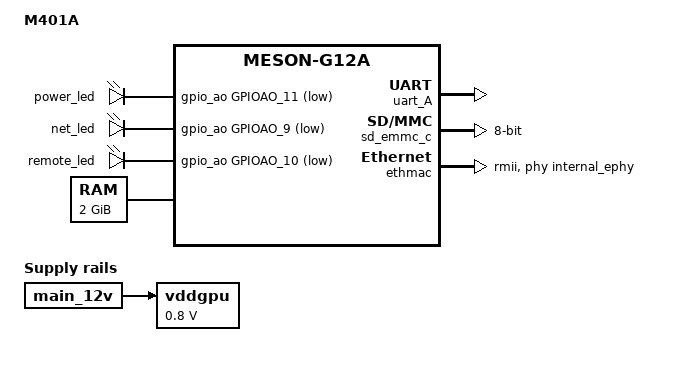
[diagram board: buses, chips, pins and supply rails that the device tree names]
// SPDX-License-Identifier: (GPL-2.0+ OR MIT)
/*
 * Copyright (c) 2018 Amlogic, Inc. All rights reserved.
 * Create by janko888 2022/11/27
 */
 
/dts-v1/;

#include "meson-g12a-u200.dts"

/ {
	compatible = "m401a", "amlogic,g12a";
	model = "M401A";
	
	aliases {
		serial1 = &uart_A;
	};
	
	vddgpu: regulator-vddgpu {
		compatible = "regulator-fixed";
		regulator-name = "mali";
		regulator-min-microvolt = <800000>;
		regulator-max-microvolt = <800000>;
		vin-supply = <&main_12v>;
		regulator-boot-on;
		regulator-always-on;
	};
	
	leds {
		compatible = "gpio-leds";

		power_led {
			led_name = "power_led";
					gpios = <&gpio_ao GPIOAO_11 GPIO_ACTIVE_LOW>;
			default-state = "on";
		};

		net_led {
			led_name = "net_led";
					gpios = <&gpio_ao GPIOAO_9 GPIO_ACTIVE_LOW>;
			default-state = "off";
			linux,default-trigger = "0.0:00:link";
		};

		remote_led {
			led_name = "remote_led";
					gpios = <&gpio_ao GPIOAO_10 GPIO_ACTIVE_LOW>;
			default-state = "off";
			linux,default-trigger = "rc-feedback";
		};

	};

	memory@0 {
		device_type = "memory";
		reg = <0x0 0x0 0x0 0x80000000>;
	};

};

&uart_A {
	status = "okay";
	pinctrl-0 = <&uart_a_pins>, <&uart_a_cts_rts_pins>;
	uart-has-rtscts;
	pinctrl-names = "default";
};

&mali {
	mali-supply=<&vddgpu>;
};

/* SD card */
/* No SD card in M401A */
&sd_emmc_b {
	status = "disabled";
	bus-width = <4>;
	cap-sd-highspeed;
	max-frequency = <50000000>;
};

/* eMMC */
&sd_emmc_c {
	status = "okay";
	bus-width = <8>;
	cap-mmc-highspeed;
	mmc-ddr-1_8v;
	mmc-hs200-1_8v;
	max-frequency = <100000000>;
};

/* CPU Overclock */
&cpu_opp_table {
	opp-100000000 {
		status = "disabled";
	};

	opp-250000000 {
		status = "disabled";
	};
	
	opp-500000000 {
		status = "disabled";
	};

	opp-667000000 {
		status = "disabled";
	};
};

&internal_ephy  {
	max-speed = <100>;
};

&ethmac {
	/delete-property/ resets;
	/delete-property/ reset-names;
	phy-handle = <&internal_ephy>;
	phy-mode = "rmii";
	status = "okay";
};
